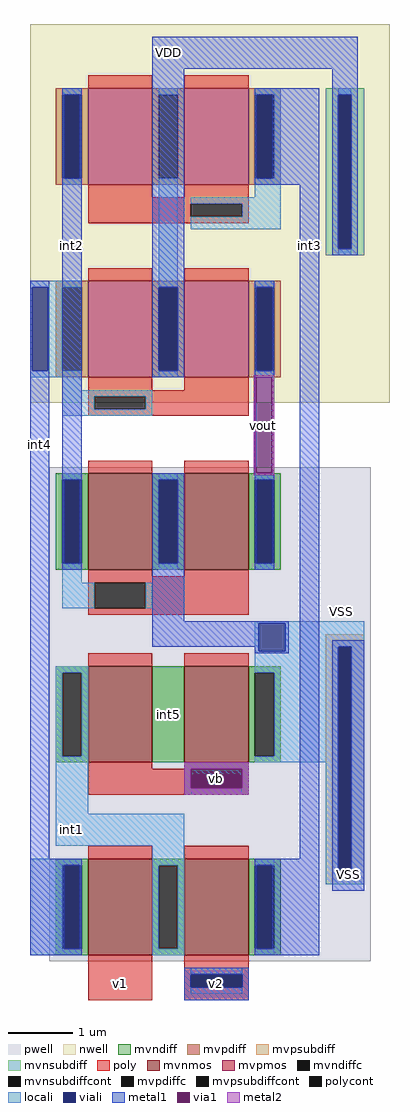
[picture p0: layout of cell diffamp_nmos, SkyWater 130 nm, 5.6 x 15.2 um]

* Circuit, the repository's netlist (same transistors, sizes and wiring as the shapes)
** sch_path: /home/amedcalf/projects/ci2406_fgcaptest/xschem/diffamp_nmos.sch
.subckt diffamp_nmos v1 v2 vb vout VDD VSS
*.PININFO v1:I v2:I vb:I vout:O VDD:I VSS:I
XM7 int2 int3 VDD VDD sky130_fd_pr__pfet_g5v0d10v5 L=1 W=1.5 nf=1 m=1
XM8 int2 int2 VSS VSS sky130_fd_pr__nfet_g5v0d10v5 L=1 W=1.5 nf=1 m=1
XM9 vout int2 VSS VSS sky130_fd_pr__nfet_g5v0d10v5 L=1 W=1.5 nf=1 m=1
XM1 int4 v1 int1 VSS sky130_fd_pr__nfet_g5v0d10v5 L=1 W=1.5 nf=1 m=1
XM2 int3 v2 int1 VSS sky130_fd_pr__nfet_g5v0d10v5 L=1 W=1.5 nf=1 m=1
XM6 int3 int3 VDD VDD sky130_fd_pr__pfet_g5v0d10v5 L=1 W=1.5 nf=1 m=1
XM5 vout int4 VDD VDD sky130_fd_pr__pfet_g5v0d10v5 L=1 W=1.5 nf=1 m=1
XM3a int1 vb int5 VSS sky130_fd_pr__nfet_g5v0d10v5 L=1 W=1.5 nf=1 m=1
XM3b int5 vb VSS VSS sky130_fd_pr__nfet_g5v0d10v5 L=1 W=1.5 nf=1 m=1
XM4 int4 int4 VDD VDD sky130_fd_pr__pfet_g5v0d10v5 L=1 W=1.5 nf=1 m=1
.ends
.end

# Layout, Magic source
magic
tech sky130A
<< nwell >>
rect 10 860 570 1450
<< pwell >>
rect 40 -10 540 760
<< mvnmos >>
rect 100 600 200 750
rect 250 600 350 750
rect 100 300 200 450
rect 250 300 350 450
rect 100 0 200 150
rect 250 0 350 150
<< mvpmos >>
rect 100 1200 200 1350
rect 250 1200 350 1350
rect 100 900 200 1050
rect 250 900 350 1050
<< mvndiff >>
rect 50 740 100 750
rect 50 610 60 740
rect 90 610 100 740
rect 50 600 100 610
rect 200 740 250 750
rect 200 610 210 740
rect 240 610 250 740
rect 200 600 250 610
rect 350 740 400 750
rect 350 610 360 740
rect 390 610 400 740
rect 350 600 400 610
rect 50 440 100 450
rect 50 310 60 440
rect 90 310 100 440
rect 50 300 100 310
rect 200 300 250 450
rect 350 440 400 450
rect 350 310 360 440
rect 390 310 400 440
rect 350 300 400 310
rect 50 140 100 150
rect 50 10 60 140
rect 90 10 100 140
rect 50 0 100 10
rect 200 140 250 150
rect 200 10 210 140
rect 240 10 250 140
rect 200 0 250 10
rect 350 140 400 150
rect 350 10 360 140
rect 390 10 400 140
rect 350 0 400 10
<< mvpdiff >>
rect 50 1340 100 1350
rect 50 1210 60 1340
rect 90 1210 100 1340
rect 50 1200 100 1210
rect 200 1340 250 1350
rect 200 1210 210 1340
rect 240 1210 250 1340
rect 200 1200 250 1210
rect 350 1340 400 1350
rect 350 1210 360 1340
rect 390 1210 400 1340
rect 350 1200 400 1210
rect 50 1040 100 1050
rect 50 910 60 1040
rect 90 910 100 1040
rect 50 900 100 910
rect 200 1040 250 1050
rect 200 910 210 1040
rect 240 910 250 1040
rect 200 900 250 910
rect 350 1040 400 1050
rect 350 910 360 1040
rect 390 910 400 1040
rect 350 900 400 910
<< mvndiffc >>
rect 60 610 90 740
rect 210 610 240 740
rect 360 610 390 740
rect 60 310 90 440
rect 360 310 390 440
rect 60 10 90 140
rect 210 10 240 140
rect 360 10 390 140
<< mvpdiffc >>
rect 60 1210 90 1340
rect 210 1210 240 1340
rect 360 1210 390 1340
rect 60 910 90 1040
rect 210 910 240 1040
rect 360 910 390 1040
<< mvpsubdiff >>
rect 470 480 530 500
rect 470 120 490 480
rect 510 120 530 480
rect 470 110 530 120
<< mvnsubdiff >>
rect 470 1340 530 1350
rect 470 1100 490 1340
rect 510 1100 530 1340
rect 470 1090 530 1100
<< mvpsubdiffcont >>
rect 490 120 510 480
<< mvnsubdiffcont >>
rect 490 1100 510 1340
<< poly >>
rect 100 1350 200 1370
rect 250 1350 350 1370
rect 100 1180 200 1200
rect 250 1180 350 1200
rect 100 1170 350 1180
rect 100 1150 260 1170
rect 340 1150 350 1170
rect 100 1140 350 1150
rect 100 1050 200 1070
rect 250 1050 350 1070
rect 100 880 200 900
rect 250 880 350 900
rect 100 870 350 880
rect 100 850 110 870
rect 190 850 350 870
rect 100 840 350 850
rect 100 750 200 770
rect 250 750 350 770
rect 100 590 200 600
rect 250 590 350 600
rect 100 580 350 590
rect 100 540 110 580
rect 190 540 350 580
rect 100 530 350 540
rect 100 450 200 470
rect 250 450 350 470
rect 100 290 200 300
rect 250 290 350 300
rect 100 280 350 290
rect 100 260 260 280
rect 340 260 350 280
rect 100 250 350 260
rect 100 150 200 170
rect 250 150 350 170
rect 100 -70 200 0
rect 250 -30 350 0
rect 250 -50 260 -30
rect 340 -50 350 -30
rect 250 -70 350 -50
<< polycont >>
rect 260 1150 340 1170
rect 110 850 190 870
rect 110 540 190 580
rect 260 260 340 280
rect 260 -50 340 -30
<< locali >>
rect 60 1340 90 1350
rect 60 1200 90 1210
rect 210 1340 240 1350
rect 10 1040 90 1050
rect 10 910 13 1040
rect 37 910 60 1040
rect 10 900 90 910
rect 210 1040 240 1210
rect 360 1340 400 1350
rect 390 1210 400 1340
rect 360 1180 400 1210
rect 260 1170 400 1180
rect 340 1150 400 1170
rect 260 1130 400 1150
rect 490 1340 510 1350
rect 490 1090 510 1100
rect 210 900 240 910
rect 360 1040 390 1050
rect 360 900 390 910
rect 60 880 90 900
rect 60 870 200 880
rect 60 850 110 870
rect 190 850 200 870
rect 60 840 200 850
rect 60 740 90 750
rect 60 580 90 610
rect 210 740 240 750
rect 210 600 240 610
rect 360 740 390 750
rect 360 600 390 610
rect 60 540 110 580
rect 190 540 200 580
rect 360 517 530 520
rect 360 473 366 517
rect 407 480 530 517
rect 407 473 490 480
rect 50 440 100 450
rect 50 310 60 440
rect 90 310 100 440
rect 50 220 100 310
rect 360 440 490 473
rect 390 310 490 440
rect 360 300 490 310
rect 260 280 340 290
rect 260 250 340 260
rect 50 170 250 220
rect 10 140 90 150
rect 10 10 60 140
rect 10 0 90 10
rect 200 140 250 170
rect 200 10 210 140
rect 240 10 250 140
rect 200 0 250 10
rect 360 140 390 150
rect 470 120 490 300
rect 510 120 530 480
rect 470 110 530 120
rect 360 0 390 10
rect 260 -30 340 -20
rect 260 -60 340 -50
<< viali >>
rect 63 1210 87 1340
rect 13 910 37 1040
rect 363 1210 387 1340
rect 490 1100 510 1340
rect 210 910 240 1040
rect 363 910 387 1040
rect 63 610 87 740
rect 210 610 240 740
rect 363 610 387 740
rect 366 473 407 517
rect 260 260 340 280
rect 63 10 87 140
rect 363 10 387 140
rect 490 120 510 480
rect 260 -50 340 -30
<< metal1 >>
rect 200 1380 520 1430
rect 60 1340 90 1350
rect 60 1210 63 1340
rect 87 1210 90 1340
rect 10 1040 40 1050
rect 10 910 13 1040
rect 37 910 40 1040
rect 10 150 40 910
rect 60 740 90 1210
rect 200 1040 250 1380
rect 360 1340 460 1350
rect 360 1210 363 1340
rect 387 1210 460 1340
rect 360 1200 460 1210
rect 200 910 210 1040
rect 240 910 250 1040
rect 200 900 250 910
rect 360 1040 390 1050
rect 360 910 363 1040
rect 387 910 390 1040
rect 360 900 390 910
rect 360 750 361 900
rect 387 750 390 900
rect 60 610 63 740
rect 87 610 90 740
rect 60 600 90 610
rect 200 740 250 750
rect 200 610 210 740
rect 240 610 250 740
rect 200 520 250 610
rect 360 740 390 750
rect 360 610 363 740
rect 387 610 390 740
rect 360 600 390 610
rect 200 517 413 520
rect 200 480 366 517
rect 360 473 366 480
rect 407 473 413 517
rect 360 470 413 473
rect 250 290 350 300
rect 250 260 260 290
rect 340 260 350 290
rect 250 250 350 260
rect 430 150 460 1200
rect 480 1340 520 1380
rect 480 1100 490 1340
rect 510 1100 520 1340
rect 480 1090 520 1100
rect 10 140 90 150
rect 10 10 63 140
rect 87 10 90 140
rect 10 0 90 10
rect 360 140 460 150
rect 360 10 363 140
rect 387 10 460 140
rect 480 480 530 490
rect 480 120 490 480
rect 510 120 530 480
rect 480 100 530 120
rect 360 0 460 10
rect 250 -30 350 -20
rect 250 -50 260 -30
rect 340 -50 350 -30
rect 250 -70 350 -50
<< via1 >>
rect 361 750 387 900
rect 260 280 340 290
rect 260 260 340 280
<< metal2 >>
rect 358 900 390 903
rect 358 750 361 900
rect 387 750 390 900
rect 358 747 390 750
rect 250 290 350 300
rect 250 260 260 290
rect 340 260 350 290
rect 250 250 350 260
<< labels >>
flabel metal1 480 100 530 150 0 FreeSans 80 0 0 0 VSS
port 3 nsew ground default
flabel metal1 200 1380 250 1430 0 FreeSans 80 0 0 0 VDD
port 4 nsew
flabel poly 100 -70 200 -20 0 FreeSans 80 0 0 0 v1
port 1 nsew analog input
flabel metal1 250 -70 350 -20 0 FreeSans 80 0 0 0 v2
port 2 nsew analog input
flabel metal1 60 1090 90 1120 0 FreeSans 160 0 0 0 int2
flabel metal1 10 780 40 810 0 FreeSans 160 0 0 0 int4
flabel mvndiff 200 300 250 450 0 FreeSans 160 0 0 0 int5
flabel metal2 358 747 390 903 0 FreeSans 160 0 0 0 vout
port 6 nsew
flabel pwell 470 510 520 560 0 FreeSans 160 0 0 0 VSS
flabel metal2 250 250 350 300 0 FreeSans 80 0 0 0 vb
port 5 nsew analog input
flabel metal1 430 1090 460 1120 0 FreeSans 160 0 0 0 int3
flabel locali 50 170 100 220 0 FreeSans 160 0 0 0 int1
<< end >>
